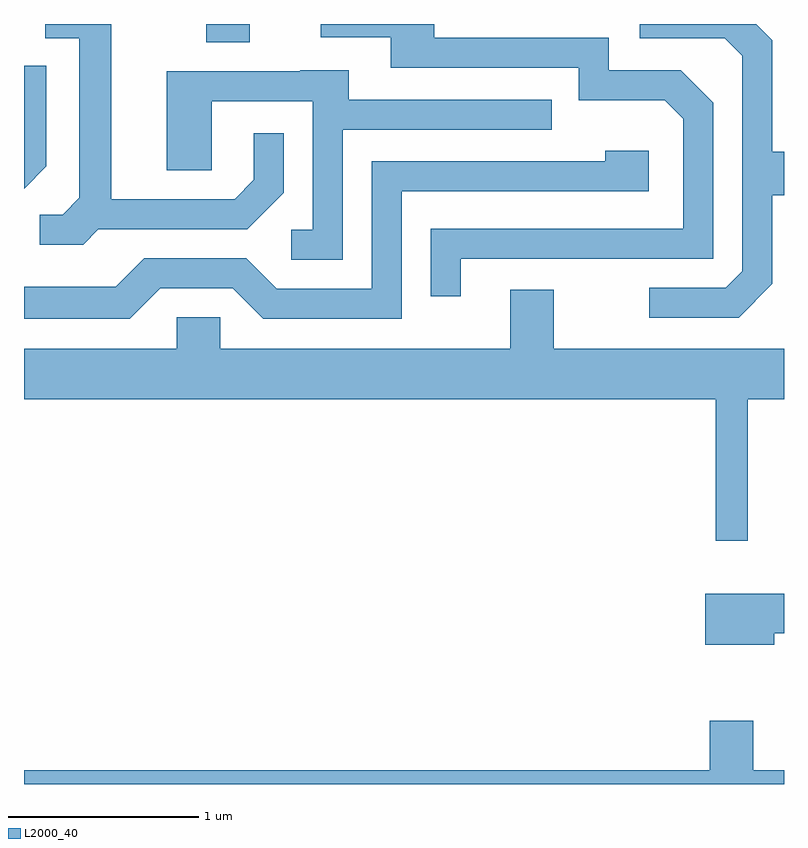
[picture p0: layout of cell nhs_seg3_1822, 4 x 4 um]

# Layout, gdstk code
import gdstk
lib = gdstk.Library(unit=1e-6, precision=1e-09)
def R(c, l, rs):  # rectangles x0, y0, x1, y1
    for r in rs: c.add(gdstk.rectangle(r[:2], r[2:], *l))
def P(c, l, *ps):  # polygons
    for p in ps: c.add(gdstk.Polygon(p, *l))
L2000_40 = (2000, 40)

nhs_seg3_1822 = lib.new_cell('nhs_seg3_1822')
R(nhs_seg3_1822, L2000_40, [(238.571,1227.796,238.799,1227.892)])
P(nhs_seg3_1822, L2000_40, [(239.909,1226.656),(241.239,1226.656),(241.239,1227.477),(241.067,1227.649),(240.689,1227.649),(240.689,1227.819),(239.769,1227.819),(239.769,1227.892),(239.173,1227.892),(239.173,1227.821),(239.541,1227.821),(239.541,1227.661),(240.531,1227.661),(240.531,1227.491),(240.984,1227.491),(241.081,1227.394),(241.081,1226.814),(239.751,1226.814),(239.751,1226.458),(239.909,1226.458)],
  [(238.002,1226.811),(238.787,1226.811),(238.979,1227.004),(238.979,1227.318),(238.821,1227.318),(238.821,1227.072),(238.719,1226.969),(238.069,1226.969),(238.069,1227.892),(237.723,1227.892),(237.723,1227.816),(237.901,1227.816),(237.901,1226.977),(237.814,1226.889),(237.693,1226.889),(237.693,1226.731),(237.922,1226.731)],
  [(241.549,1226.524),(241.549,1226.991),(241.611,1226.991),(241.611,1227.219),(241.549,1227.219),(241.549,1227.807),(241.464,1227.892),(240.853,1227.892),(240.853,1227.816),(241.299,1227.816),(241.391,1227.724),(241.391,1226.592),(241.304,1226.504),(240.903,1226.504),(240.903,1226.346),(241.372,1226.346)],
  [(237.729,1227.144),(237.729,1227.673),(237.611,1227.673),(237.611,1227.026)],
  [(239.289,1227.336),(240.388,1227.336),(240.388,1227.494),(239.319,1227.494),(239.319,1227.649),(239.065,1227.649),(239.065,1227.644),(238.361,1227.644),(238.361,1227.121),(238.599,1227.121),(238.599,1227.486),(239.131,1227.486),(239.131,1226.809),(239.018,1226.809),(239.018,1226.651),(239.289,1226.651)],
  [(238.327,1226.501),(238.709,1226.501),(238.869,1226.341),(239.599,1226.341),(239.599,1227.011),(240.899,1227.011),(240.899,1227.224),(240.671,1227.224),(240.671,1227.169),(239.441,1227.169),(239.441,1226.499),(238.942,1226.499),(238.782,1226.659),(238.244,1226.659),(238.094,1226.509),(237.611,1226.509),(237.611,1226.341),(238.167,1226.341)],
  [(241.419,1225.916),(241.611,1225.916),(241.611,1226.184),(240.399,1226.184),(240.399,1226.494),(240.171,1226.494),(240.171,1226.184),(238.644,1226.184),(238.644,1226.349),(238.416,1226.349),(238.416,1226.184),(237.611,1226.184),(237.611,1225.916),(241.251,1225.916),(241.251,1225.173),(241.419,1225.173)],
  [(241.559,1224.686),(241.611,1224.686),(241.611,1224.894),(241.196,1224.894),(241.196,1224.626),(241.559,1224.626)],
  [(241.611,1223.964),(241.449,1223.964),(241.449,1224.224),(241.221,1224.224),(241.221,1223.964),(237.611,1223.964),(237.611,1223.892),(241.611,1223.892)])

lib.write_gds('nhs_seg3_1822.gds')
